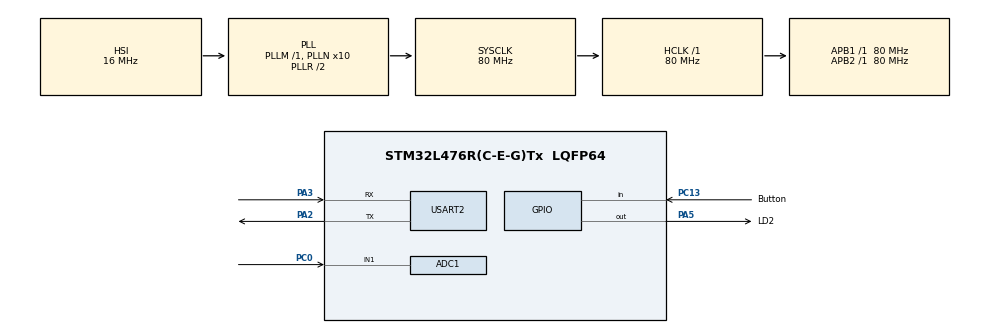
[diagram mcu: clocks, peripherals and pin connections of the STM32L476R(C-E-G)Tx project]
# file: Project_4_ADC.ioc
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ADC1.Channel-1\#ChannelRegularConversion=ADC_CHANNEL_1
ADC1.ContinuousConvMode=ENABLE
ADC1.NbrOfConversionFlag=1
ADC1.OffsetNumber-1\#ChannelRegularConversion=ADC_OFFSET_NONE
ADC1.Overrun=ADC_OVR_DATA_OVERWRITTEN
ADC1.Rank-1\#ChannelRegularConversion=1
ADC1.SamplingTime-1\#ChannelRegularConversion=ADC_SAMPLETIME_2CYCLES_5
ADC1.master=1
Mcu.Family=STM32L4
Mcu.Name=STM32L476R(C-E-G)Tx
Mcu.Package=LQFP64
NVIC.PriorityGroup=NVIC_PRIORITYGROUP_4
PA2.Mode=Asynchronous
PA2.Signal=USART2_TX
PA3.Mode=Asynchronous
PA3.Signal=USART2_RX
PA5.GPIO_Label=LD2
PA5.Signal=GPIO_Output
PC0.Signal=ADCx_IN1
PC13.GPIO_Label=Button
PC13.Signal=GPIO_Input
ProjectManager.HeapSize=0x200
ProjectManager.StackSize=0x400
ProjectManager.TargetToolchain=STM32CubeIDE
RCC.ADCFreq_Value=32000000
RCC.AHBFreq_Value=80000000
RCC.APB1Freq_Value=80000000
RCC.APB1TimFreq_Value=80000000
RCC.APB2Freq_Value=80000000
RCC.APB2TimFreq_Value=80000000
RCC.CortexFreq_Value=80000000
RCC.HCLKFreq_Value=80000000
RCC.HSE_VALUE=8000000
RCC.HSI_VALUE=16000000
RCC.LSE_VALUE=32768
RCC.MSI_VALUE=4000000
RCC.PLLN=10
RCC.PLLSAI1R=RCC_PLLR_DIV4
RCC.PLLSourceVirtual=RCC_PLLSOURCE_HSI
RCC.PREFETCH_ENABLE=1
RCC.SYSCLKFreq_VALUE=80000000
RCC.SYSCLKSource=RCC_SYSCLKSOURCE_PLLCLK
RCC.USBFreq_Value=64000000
RCC.VCOOutputFreq_Value=160000000
SH.ADCx_IN1.0=ADC1_IN1,IN1-Single-Ended
USART2.VirtualMode-Asynchronous=VM_ASYNC
board=NUCLEO-L476RG

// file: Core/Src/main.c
/* USER CODE BEGIN Header */
/**
  ******************************************************************************
  * @file           : main.c
  * @brief          : Main program body
  ******************************************************************************
  * @attention
  *
  * Copyright (c) 2024 STMicroelectronics.
  * All rights reserved.
  *
  * This software is licensed under terms that can be found in the LICENSE file
  * in the root directory of this software component.
  * If no LICENSE file comes with this software, it is provided AS-IS.
  *
  ******************************************************************************
  */
/* USER CODE END Header */
#include "main.h"

/* USER CODE BEGIN Includes */
#include <stdio.h>
/* USER CODE END Includes */

ADC_HandleTypeDef hadc1;

UART_HandleTypeDef huart2;

void SystemClock_Config(void);
static void MX_GPIO_Init(void);
static void MX_ADC1_Init(void);
static void MX_USART2_UART_Init(void);

/* USER CODE BEGIN 0 */
int __io_putchar(int ch)
{
  if (ch == '\n') {
    __io_putchar('\r');
  }

  HAL_UART_Transmit(&huart2, (uint8_t*)&ch, 1, HAL_MAX_DELAY);

  return 1;
}

void light_info(int tmp){
	if(temp < 20){
		HAL_GPIO_WritePin(LED_B_GPIO_Port, LED_B_Pin, GPIO_PIN_SET);
		HAL_GPIO_WritePin(LED_G_GPIO_Port, LED_G_Pin, GPIO_PIN_RESET);
		HAL_GPIO_WritePin(LED_R_GPIO_Port, LED_R_Pin, GPIO_PIN_RESET);
	}
	if(temp < 22 & temp >= 20){
		HAL_GPIO_WritePin(LED_B_GPIO_Port, LED_B_Pin, GPIO_PIN_RESET);
		HAL_GPIO_WritePin(LED_G_GPIO_Port, LED_G_Pin, GPIO_PIN_SET);
		HAL_GPIO_WritePin(LED_R_GPIO_Port, LED_R_Pin, GPIO_PIN_RESET);
	}
	if( temp >= 22){
		HAL_GPIO_WritePin(LED_B_GPIO_Port, LED_B_Pin, GPIO_PIN_RESET);
		HAL_GPIO_WritePin(LED_G_GPIO_Port, LED_G_Pin, GPIO_PIN_RESET);
		HAL_GPIO_WritePin(LED_R_GPIO_Port, LED_R_Pin, GPIO_PIN_SET);
	}
	else{
		HAL_GPIO_TogglePin(LED_R_GPIO_Port, LED_R_Pin);
	}
}
/* USER CODE END 0 */

int main(void)
{

  /* MCU Configuration--------------------------------------------------------*/

  /* Reset of all peripherals, Initializes the Flash interface and the Systick. */
  HAL_Init();

  /* Configure the system clock */
  SystemClock_Config();

  /* Initialize all configured peripherals */
  MX_GPIO_Init();
  MX_ADC1_Init();
  MX_USART2_UART_Init();
  /* USER CODE BEGIN 2 */

  HAL_ADCEx_Calibration_Start(&hadc1, ADC_SINGLE_ENDED);
  HAL_ADC_Start(&hadc1);
  /* USER CODE END 2 */

  /* Infinite loop */
  /* USER CODE BEGIN WHILE */
  while (1)
  {

	  HAL_ADC_Start(&hadc1);
	  HAL_ADC_PollForConversion(&hadc1, HAL_MAX_DELAY);

	  uint32_t value = HAL_ADC_GetValue(&hadc1);
	  float voltage = 3.3f * value / 4096.0f;

	  printf("ADC = %lu (%.3f V)\n", value, voltage);
	  HAL_Delay(2000);
    /* USER CODE END WHILE */

  }
}

void SystemClock_Config(void)
{
  RCC_OscInitTypeDef RCC_OscInitStruct = {0};
  RCC_ClkInitTypeDef RCC_ClkInitStruct = {0};

  /** Configure the main internal regulator output voltage
  */
  if (HAL_PWREx_ControlVoltageScaling(PWR_REGULATOR_VOLTAGE_SCALE1) != HAL_OK)
  {
    Error_Handler();
  }

  /** Initializes the RCC Oscillators according to the specified parameters
  * in the RCC_OscInitTypeDef structure.
  */
  RCC_OscInitStruct.OscillatorType = RCC_OSCILLATORTYPE_HSI;
  RCC_OscInitStruct.HSIState = RCC_HSI_ON;
  RCC_OscInitStruct.HSICalibrationValue = RCC_HSICALIBRATION_DEFAULT;
  RCC_OscInitStruct.PLL.PLLState = RCC_PLL_ON;
  RCC_OscInitStruct.PLL.PLLSource = RCC_PLLSOURCE_HSI;
  RCC_OscInitStruct.PLL.PLLM = 1;
  RCC_OscInitStruct.PLL.PLLN = 10;
  RCC_OscInitStruct.PLL.PLLP = RCC_PLLP_DIV7;
  RCC_OscInitStruct.PLL.PLLQ = RCC_PLLQ_DIV2;
  RCC_OscInitStruct.PLL.PLLR = RCC_PLLR_DIV2;
  if (HAL_RCC_OscConfig(&RCC_OscInitStruct) != HAL_OK)
  {
    Error_Handler();
  }

  /** Initializes the CPU, AHB and APB buses clocks
  */
  RCC_ClkInitStruct.ClockType = RCC_CLOCKTYPE_HCLK|RCC_CLOCKTYPE_SYSCLK
                              |RCC_CLOCKTYPE_PCLK1|RCC_CLOCKTYPE_PCLK2;
  RCC_ClkInitStruct.SYSCLKSource = RCC_SYSCLKSOURCE_PLLCLK;
  RCC_ClkInitStruct.AHBCLKDivider = RCC_SYSCLK_DIV1;
  RCC_ClkInitStruct.APB1CLKDivider = RCC_HCLK_DIV1;
  RCC_ClkInitStruct.APB2CLKDivider = RCC_HCLK_DIV1;

  if (HAL_RCC_ClockConfig(&RCC_ClkInitStruct, FLASH_LATENCY_4) != HAL_OK)
  {
    Error_Handler();
  }
}

static void MX_ADC1_Init(void)
{

  ADC_MultiModeTypeDef multimode = {0};
  ADC_ChannelConfTypeDef sConfig = {0};

  /** Common config
  */
  hadc1.Instance = ADC1;
  hadc1.Init.ClockPrescaler = ADC_CLOCK_ASYNC_DIV1;
  hadc1.Init.Resolution = ADC_RESOLUTION_12B;
  hadc1.Init.DataAlign = ADC_DATAALIGN_RIGHT;
  hadc1.Init.ScanConvMode = ADC_SCAN_DISABLE;
  hadc1.Init.EOCSelection = ADC_EOC_SINGLE_CONV;
  hadc1.Init.LowPowerAutoWait = DISABLE;
  hadc1.Init.ContinuousConvMode = ENABLE;
  hadc1.Init.NbrOfConversion = 1;
  hadc1.Init.DiscontinuousConvMode = DISABLE;
  hadc1.Init.ExternalTrigConv = ADC_SOFTWARE_START;
  hadc1.Init.ExternalTrigConvEdge = ADC_EXTERNALTRIGCONVEDGE_NONE;
  hadc1.Init.DMAContinuousRequests = DISABLE;
  hadc1.Init.Overrun = ADC_OVR_DATA_OVERWRITTEN;
  hadc1.Init.OversamplingMode = DISABLE;
  if (HAL_ADC_Init(&hadc1) != HAL_OK)
  {
    Error_Handler();
  }

  /** Configure the ADC multi-mode
  */
  multimode.Mode = ADC_MODE_INDEPENDENT;
  if (HAL_ADCEx_MultiModeConfigChannel(&hadc1, &multimode) != HAL_OK)
  {
    Error_Handler();
  }

  /** Configure Regular Channel
  */
  sConfig.Channel = ADC_CHANNEL_1;
  sConfig.Rank = ADC_REGULAR_RANK_1;
  sConfig.SamplingTime = ADC_SAMPLETIME_2CYCLES_5;
  sConfig.SingleDiff = ADC_SINGLE_ENDED;
  sConfig.OffsetNumber = ADC_OFFSET_NONE;
  sConfig.Offset = 0;
  if (HAL_ADC_ConfigChannel(&hadc1, &sConfig) != HAL_OK)
  {
    Error_Handler();
  }

}

static void MX_USART2_UART_Init(void)
{

  huart2.Instance = USART2;
  huart2.Init.BaudRate = 115200;
  huart2.Init.WordLength = UART_WORDLENGTH_8B;
  huart2.Init.StopBits = UART_STOPBITS_1;
  huart2.Init.Parity = UART_PARITY_NONE;
  huart2.Init.Mode = UART_MODE_TX_RX;
  huart2.Init.HwFlowCtl = UART_HWCONTROL_NONE;
  huart2.Init.OverSampling = UART_OVERSAMPLING_16;
  huart2.Init.OneBitSampling = UART_ONE_BIT_SAMPLE_DISABLE;
  huart2.AdvancedInit.AdvFeatureInit = UART_ADVFEATURE_NO_INIT;
  if (HAL_UART_Init(&huart2) != HAL_OK)
  {
    Error_Handler();
  }

}

static void MX_GPIO_Init(void)
{
  GPIO_InitTypeDef GPIO_InitStruct = {0};

  /* GPIO Ports Clock Enable */
  __HAL_RCC_GPIOC_CLK_ENABLE();
  __HAL_RCC_GPIOA_CLK_ENABLE();

  /*Configure GPIO pin Output Level */
  HAL_GPIO_WritePin(LD2_GPIO_Port, LD2_Pin, GPIO_PIN_RESET);

  /*Configure GPIO pin : Button_Pin */
  GPIO_InitStruct.Pin = Button_Pin;
  GPIO_InitStruct.Mode = GPIO_MODE_INPUT;
  GPIO_InitStruct.Pull = GPIO_NOPULL;
  HAL_GPIO_Init(Button_GPIO_Port, &GPIO_InitStruct);

  /*Configure GPIO pin : LD2_Pin */
  GPIO_InitStruct.Pin = LD2_Pin;
  GPIO_InitStruct.Mode = GPIO_MODE_OUTPUT_PP;
  GPIO_InitStruct.Pull = GPIO_NOPULL;
  GPIO_InitStruct.Speed = GPIO_SPEED_FREQ_LOW;
  HAL_GPIO_Init(LD2_GPIO_Port, &GPIO_InitStruct);

}

void Error_Handler(void)
{
  __disable_irq();
  while (1)
  {
  }
}
